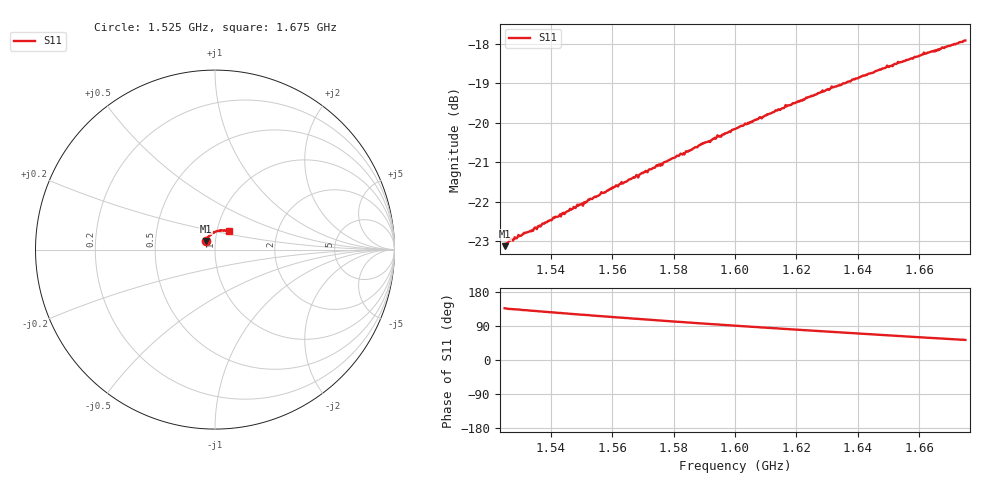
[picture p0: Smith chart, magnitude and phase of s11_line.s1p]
# GHZ S RI R 50.000000000000
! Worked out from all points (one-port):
!   501 points, 1.525 GHz to 1.675 GHz, reference 50 ohm
!   lowest |S11| = -23.1 dB at 1.525 GHz (marker M1), VSWR 1.15, Z = 45 + j4.33 ohm
!   |S11| at or under -10 dB: start of sweep to end of sweep
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1.525  -0.0507 0.0479
1.5268  -0.05 0.0502
1.5283  -0.0495 0.0517
1.5319  -0.0483 0.0542
1.5337  -0.0469 0.0557
1.5412  -0.0437 0.0618
1.5439  -0.0425 0.0638
1.549  -0.0395 0.0678
1.5511  -0.0386 0.069
1.5526  -0.0375 0.0705
1.5553  -0.0356 0.0725
1.5568  -0.035 0.0736
1.5625  -0.0314 0.0775
1.5814  -0.0171 0.0892
1.5832  -0.0157 0.0901
1.5895  -0.0103 0.0937
1.5919  -0.00808 0.0942
1.594  -0.00643 0.0956
1.5955  -0.00525 0.0959
1.6  -0.00113 0.0982
1.6189  0.0171 0.1045
1.6318  0.0305 0.1066
1.6375  0.0366 0.1067
1.6492  0.0488 0.1069
1.6507  0.0506 0.1066
1.6525  0.0525 0.1064
1.6564  0.0567 0.106
1.675  0.0766 0.1015
